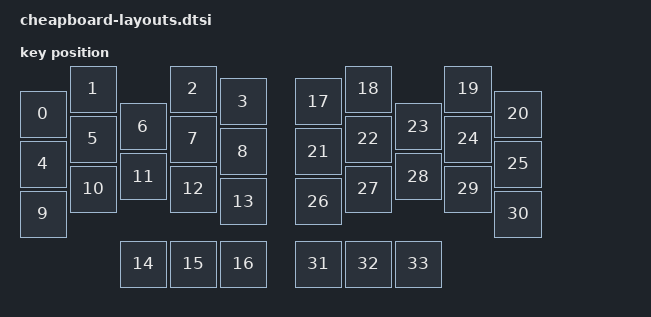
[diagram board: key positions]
#include <physical_layouts.dtsi>

/ {
    physical_layout_cheapboard: physical_layout_cheapboard {
        compatible = "zmk,physical-layout";
        display-name = "cheapboard";
        keys  //                     w   h    x    y     rot    rx    ry
            = <&key_physical_attrs 100 100    0   50       0     0    50>
            , <&key_physical_attrs 100 100  100    0       0   100     0>
            , <&key_physical_attrs 100 100  200(-25)       0   200 (-25)>
            , <&key_physical_attrs 100 100  300    0       0   300     0>
            , <&key_physical_attrs 100 100  400   25       0   400    25>
            , <&key_physical_attrs 100 100    0  150       0     0   150>
            , <&key_physical_attrs 100 100  100  100       0   100   100>
            , <&key_physical_attrs 100 100  200   75       0   200    75>
            , <&key_physical_attrs 100 100  300  100       0   300   100>
            , <&key_physical_attrs 100 100  400  125       0   400   125>
            , <&key_physical_attrs 100 100    0  250       0     0   250>
            , <&key_physical_attrs 100 100  100  200       0   100   200>
            , <&key_physical_attrs 100 100  200  175       0   200   175>
            , <&key_physical_attrs 100 100  300  200       0   300   200>
            , <&key_physical_attrs 100 100  400  225       0   400   225>
            , <&key_physical_attrs 100 100  200  350       0   200   350>
            , <&key_physical_attrs 100 100  300  350       0   300   350>
            , <&key_physical_attrs 100 100  400  350       0   400   350>
            , <&key_physical_attrs 100 100  550   25       0   550    25>
            , <&key_physical_attrs 100 100  650    0       0   650     0>
            , <&key_physical_attrs 100 100  750(-25)       0   750 (-25)>
            , <&key_physical_attrs 100 100  850    0       0   850     0>
            , <&key_physical_attrs 100 100  950   50       0   950    50>
            , <&key_physical_attrs 100 100  550  125       0   550   125>
            , <&key_physical_attrs 100 100  650  100       0   650   100>
            , <&key_physical_attrs 100 100  750   75       0   750    75>
            , <&key_physical_attrs 100 100  850  100       0   850   100>
            , <&key_physical_attrs 100 100  950  150       0   950   150>
            , <&key_physical_attrs 100 100  550  225       0   550   225>
            , <&key_physical_attrs 100 100  650  200       0   650   200>
            , <&key_physical_attrs 100 100  750  175       0   750   175>
            , <&key_physical_attrs 100 100  850  200       0   850   200>
            , <&key_physical_attrs 100 100  950  250       0   950   250>
            , <&key_physical_attrs 100 100  550  350       0   550   350>
            , <&key_physical_attrs 100 100  650  350       0   650   350>
            , <&key_physical_attrs 100 100  750  350       0   750   350>
            ;
    };
};
